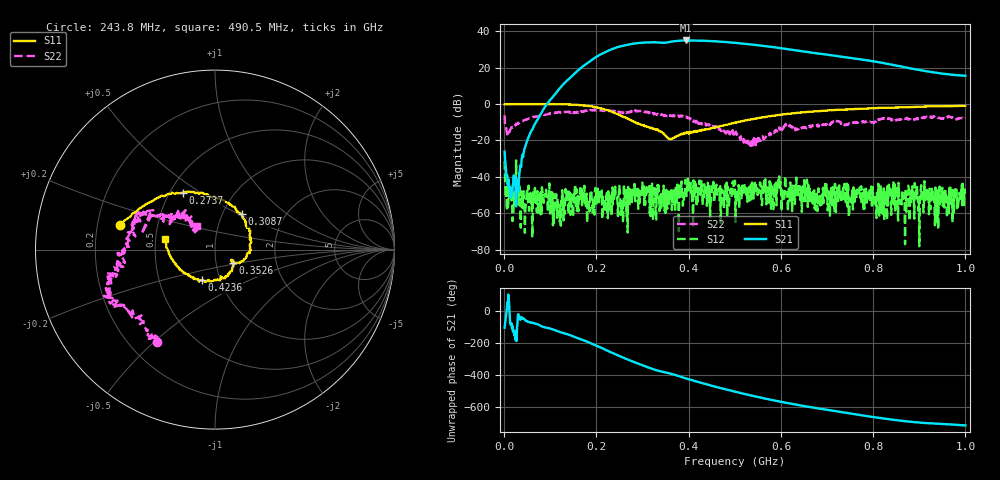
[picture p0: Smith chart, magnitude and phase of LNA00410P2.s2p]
! Created with skrf 1.9.0 (http://scikit-rf.org).
# Hz S RI R 50.0
!freq ReS11 ImS11 ReS21 ImS21 ReS12 ImS12 ReS22 ImS22
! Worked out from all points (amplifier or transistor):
!   1001 points, 1 MHz to 1 GHz, reference 50 ohm
!   highest |S21| = 35.0 dB at 394.6 MHz (marker M1)
!   |S21| within 3 dB of that: 255.9 MHz to 561.4 MHz (305.5 MHz wide, 74.8 % of centre) (the widest 1 of 2)
!   unconditionally stable (mu >= 1): 4.554 MHz to 33.22 MHz; 234.9 MHz to 299.6 MHz; 299.9 MHz to end of sweep (the widest 3 of 32)
!   at 166.8 MHz: K = 1.01, MAG = 34.6 dB, |S12| = -50.7 dB
!   at 500.5 MHz: K = 1.32, MAG = 34.5 dB, |S12| = -42.1 dB
!   at 1 GHz: K = 3.73, MAG = 23.2 dB, |S12| = -48.1 dB
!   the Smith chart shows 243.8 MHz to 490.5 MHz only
!   S11 on the Smith chart (normalised r, x): 243.8 MHz: 0.30, +0.11; 273.7 MHz: 0.58, +0.43; 308.7 MHz: 1.23, +0.52; 352.6 MHz: 1.20, -0.18; 423.6 MHz: 0.82, -0.29; 490.5 MHz: 0.56, +0.07
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1000000  0.9879 0.00319  -0.0123 -0.0476  -0.0201 0.0185  0.3391 0.3592
1.08892e8  0.5291 -0.8432  -0.8332 -1.574  0.00249 0.0022  0.4161 -0.3746
1.67833e8  -0.2153 -0.9045  -10.16 -0.4589  -0.00133 0.00453  0.0326 -0.6285
2.09791e8  -0.6494 -0.3975  -15.56 17.47  -0.00169 -0.00299  -0.2019 -0.6514
2.43757e8  -0.5289 0.1354  1.531 35.87  -0.00229 0.00267  -0.3254 -0.5153
2.73727e8  -0.1778 0.3175  27.99 34.2  -0.00267 -0.000243  -0.5432 -0.3171
3.08692e8  0.1492 0.1967  48.13 10.67  -0.00385 0.00364  -0.5957 -0.1645
3.34666e8  0.1946 -0.0194  47.98 -10.59  -0.00265 0.00528  -0.5075 -0.0208
3.52648e8  0.0989 -0.0739  44.95 -19.78  0.00122 0.00159  -0.4937 0.0598
3.7063e8  0.0993 -0.0696  42.84 -32.8  -0.00105 0.000198  -0.4303 0.1693
3.94606e8  0.0627 -0.149  28.33 -48.21  0.00094 0.00445  -0.4007 0.2113
4.23577e8  -0.0734 -0.1695  5.582 -54.97  0.00736 0.00309  -0.2527 0.1419
4.55545e8  -0.2018 -0.105  -17.45 -50.04  0.00169 0.00113  -0.1408 0.1683
4.9051e8  -0.2798 0.0605  -34.7 -34.9  0.00311 0.00252  -0.1008 0.1342
5.005e8  -0.2877 0.1202  -38.21 -29.71  0.00714 0.00328  -0.0978 0.1013
5.39461e8  -0.2254 0.317  -41.89 -8.771  0.00587 -0.000488  -0.1023 0.0138
5.86414e8  -0.0413 0.4813  -34.67 10.65  0.000704 -0.00607  -0.177 -0.0533
6.25375e8  0.1357 0.5402  -23.88 19.1  0.00538 -0.00208  -0.2264 -0.0697
6.67333e8  0.33 0.5254  -12.92 22.13  0.000786 -0.00197  -0.2557 0.00739
7.55245e8  0.6311 0.36  3.039 17.98  -0.00228 0.000763  -0.2982 0.0859
8.34166e8  0.7802 0.1428  8.533 9.166  -0.00555 0.00253  -0.3711 0.1155
1e9  0.8108 -0.3847  5.963 0.8555  -0.00276 -0.0028  -0.1397 0.3903
